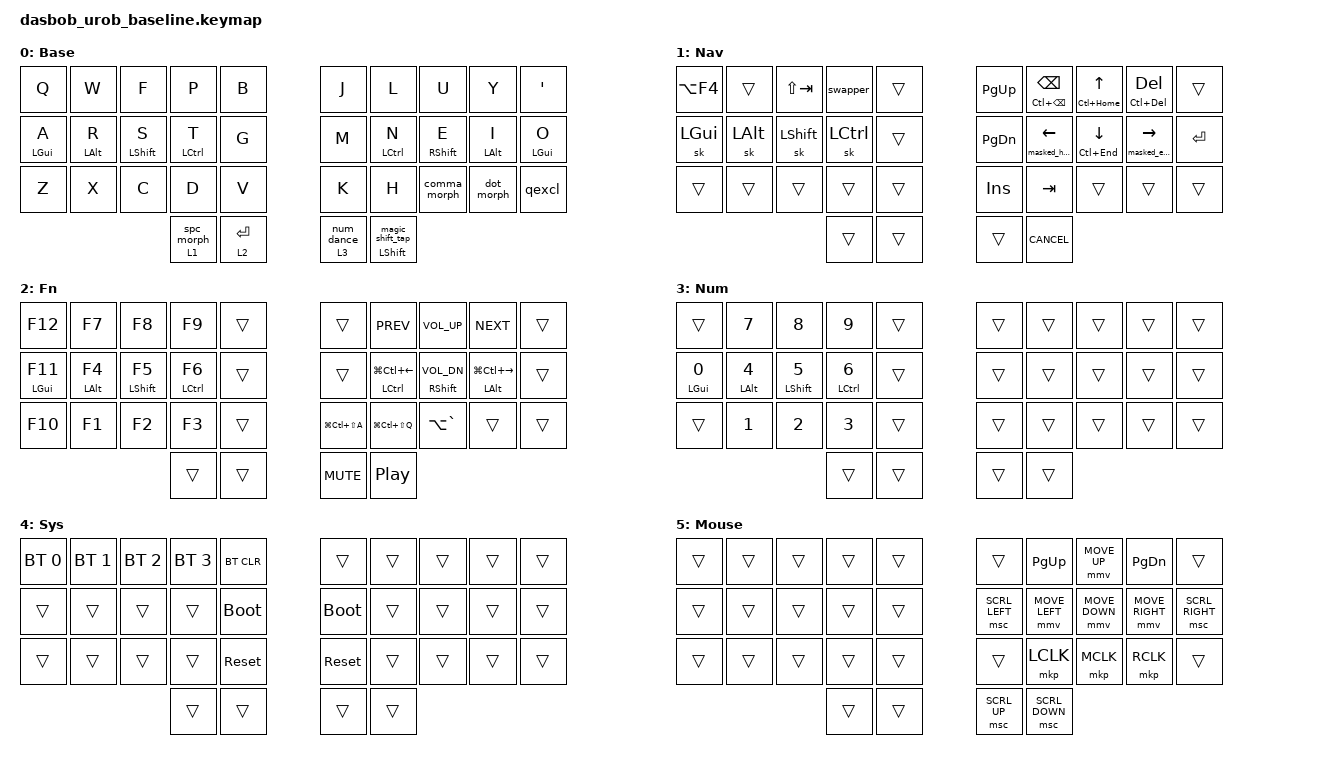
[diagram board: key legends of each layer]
/*
 * ZMK Keymap - Expanded from urob/zmk-config
 *
 * Generated: 2026-05-08
 * Source commit: f864d2a
 *
 * This file is auto-generated by expand_keymap.py for Keymap Editor compatibility.
 */

#include <behaviors.dtsi>
#include <behaviors/num_word.dtsi>
#include <behaviors/unicode.dtsi>
#include <dt-bindings/zmk/keys.h>
#include <dt-bindings/zmk/bt.h>
#include <dt-bindings/zmk/outputs.h>

/* Mouse settings - must be before pointing.h */
#define ZMK_POINTING_DEFAULT_MOVE_VAL 600
#define ZMK_POINTING_DEFAULT_SCRL_VAL 20

#include <dt-bindings/zmk/pointing.h>
#include <input/processors.dtsi>
#include <zephyr/dt-bindings/input/input-event-codes.h>

#define DEF 0
#define NAV 1
#define FN 2
#define NUM 3
#define SYS 4
#define MOUSE 5

#define KEYS_L 0 1 2 3 4 10 11 12 13 14 20 21 22 23 24
#define KEYS_R 5 6 7 8 9 15 16 17 18 19 25 26 27 28 29
#define THUMBS 30 31 32 33 34 35

#define QUICK_TAP_MS 175

&sk {
 release-after-ms = <900>;
 quick-release;
};

&sl {
 ignore-modifiers;
};

&lt {
 flavor = "balanced";
 tapping-term-ms = <200>;
 quick-tap-ms = <175>;
};

&mmv {
 acceleration-exponent = <1>;
 time-to-max-speed-ms = <500>;
 delay-ms = <0>;
};

&msc {
 acceleration-exponent = <0>;
 time-to-max-speed-ms = <300>;
 delay-ms = <0>;
};

&mmv_input_listener {
 warp {
 layers = <1>;
 input-processors = <&zip_xy_scaler 3 1>;
 };
 precision {
 layers = <2>;
 input-processors = <&zip_xy_scaler 1 2>;
 };
};

&msc_input_listener {
 warp {
 layers = <1>;
 input-processors = <&zip_scroll_scaler 2 1>;
 };
 precision {
 layers = <2>;
 input-processors = <&zip_scroll_scaler 1 2>;
 };
};

&mt { flavor = "tap-preferred"; tapping-term-ms = <220>; quick-tap-ms = <220>; hold-trigger-key-positions = <0>; };

&caps_word {
 /delete-property/ ignore-modifiers;
};

/ {
    behaviors {
        hml: hml {
            compatible = "zmk,behavior-hold-tap";
            #binding-cells = <2>;
            bindings = <&kp>, <&kp>;
            flavor = "balanced";
            tapping-term-ms = <280>;
            quick-tap-ms = <175>;
            require-prior-idle-ms = <150>;
            hold-trigger-on-release;
            hold-trigger-key-positions = <5 6 7 8 9 15 16 17 18 19 25 26 27 28 29 30 31 32 33 34 35>;
        };

        hmr: hmr {
            compatible = "zmk,behavior-hold-tap";
            #binding-cells = <2>;
            bindings = <&kp>, <&kp>;
            flavor = "balanced";
            tapping-term-ms = <280>;
            quick-tap-ms = <175>;
            require-prior-idle-ms = <150>;
            hold-trigger-on-release;
            hold-trigger-key-positions = <0 1 2 3 4 10 11 12 13 14 20 21 22 23 24 30 31 32 33 34 35>;
        };

        masked_home: masked_home {
            compatible = "zmk,behavior-mod-morph";
            #binding-cells = <0>;
            bindings = <&kp HOME>, <&kp HOME>;
            mods = <(MOD_LCTL)>;
        };

        masked_end: masked_end {
            compatible = "zmk,behavior-mod-morph";
            #binding-cells = <0>;
            bindings = <&kp END>, <&kp END>;
            mods = <(MOD_LCTL)>;
        };

        mt_home: mt_home {
            compatible = "zmk,behavior-hold-tap";
            #binding-cells = <2>;
            bindings = <&masked_home>, <&kp>;
            flavor = "tap-preferred";
            tapping-term-ms = <220>;
            quick-tap-ms = <220>;
            hold-trigger-key-positions = <0>;
        };

        mt_end: mt_end {
            compatible = "zmk,behavior-hold-tap";
            #binding-cells = <2>;
            bindings = <&masked_end>, <&kp>;
            flavor = "tap-preferred";
            tapping-term-ms = <220>;
            quick-tap-ms = <220>;
            hold-trigger-key-positions = <0>;
        };

        magic_shift: magic_shift {
            compatible = "zmk,behavior-hold-tap";
            #binding-cells = <2>;
            bindings = <&kp>, <&magic_shift_tap>;
            flavor = "balanced";
            tapping-term-ms = <200>;
            quick-tap-ms = <175>;
        };

        magic_shift_tap: magic_shift_tap {
            compatible = "zmk,behavior-mod-morph";
            #binding-cells = <0>;
            bindings = <&shift_repeat>, <&caps_word>;
            mods = <(MOD_LSFT)>;
        };

        shift_repeat: shift_repeat {
            compatible = "zmk,behavior-adaptive-key";
            #binding-cells = <0>;
            bindings = <&sk LSHFT>;
            repeat {
 trigger-keys = <A B C D E F G H I J K L M N O P Q R S T U V W X Y Z>;
            bindings = <&key_repeat>;
            max-prior-idle-ms = <1200>;
            strict-modifiers;
            };
        };

        smart_num: smart_num {
            compatible = "zmk,behavior-hold-tap";
            #binding-cells = <2>;
            bindings = <&mo>, <&num_dance>;
            flavor = "balanced";
            tapping-term-ms = <200>;
            quick-tap-ms = <175>;
        };

        num_dance: num_dance {
            compatible = "zmk,behavior-tap-dance";
            #binding-cells = <0>;
            bindings = <&num_word 3>, <&sl 3>;
            tapping-term-ms = <200>;
        };

        smart_mouse: smart_mouse {
            compatible = "zmk,behavior-tri-state";
            #binding-cells = <0>;
            bindings = <&tog 5>, <&none>, <&tog 5>;
            ignored-key-positions =
 <3 2 32 31 6 7 8 15 16 17 18 19 26 27 28 33 34>;
            ignored-layers = <5 1 2>;
        };

        swapper: swapper {
            compatible = "zmk,behavior-tri-state";
            #binding-cells = <0>;
            bindings = <&kt LALT>, <&kp TAB>, <&kt LALT>;
            ignored-key-positions = <2 7 16 17 18>;
        };

        comma_morph: comma_morph {
            compatible = "zmk,behavior-mod-morph";
            #binding-cells = <0>;
            mods = <(MOD_LSFT | MOD_RSFT)>;
            bindings = <&kp COMMA>, <&comma_inner_morph>;
        };

        comma_inner_morph: comma_inner_morph {
            compatible = "zmk,behavior-mod-morph";
            #binding-cells = <0>;
            mods = <(MOD_LCTL | MOD_RCTL)>;
            bindings = <&kp SEMICOLON>, <&kp LESS_THAN>;
        };

        dot_morph: dot_morph {
            compatible = "zmk,behavior-mod-morph";
            #binding-cells = <0>;
            mods = <(MOD_LSFT | MOD_RSFT)>;
            bindings = <&kp DOT>, <&dot_inner_morph>;
        };

        dot_inner_morph: dot_inner_morph {
            compatible = "zmk,behavior-mod-morph";
            #binding-cells = <0>;
            mods = <(MOD_LCTL | MOD_RCTL)>;
            bindings = <&kp COLON>, <&kp GREATER_THAN>;
        };

        qexcl: qexcl {
            compatible = "zmk,behavior-mod-morph";
            #binding-cells = <0>;
            mods = <(MOD_LSFT | MOD_RSFT)>;
            bindings = <&kp QMARK>, <&kp EXCL>;
        };

        lpar_lt: lpar_lt {
            compatible = "zmk,behavior-mod-morph";
            #binding-cells = <0>;
            mods = <(MOD_LSFT | MOD_RSFT)>;
            bindings = <&kp LPAR>, <&kp LT>;
        };

        rpar_gt: rpar_gt {
            compatible = "zmk,behavior-mod-morph";
            #binding-cells = <0>;
            mods = <(MOD_LSFT | MOD_RSFT)>;
            bindings = <&kp RPAR>, <&kp GT>;
        };

        lt_spc: lt_spc {
            compatible = "zmk,behavior-hold-tap";
            #binding-cells = <2>;
            bindings = <&mo>, <&spc_morph>;
            flavor = "balanced";
            tapping-term-ms = <200>;
            quick-tap-ms = <175>;
        };

        spc_morph: spc_morph {
            compatible = "zmk,behavior-mod-morph";
            #binding-cells = <0>;
            mods = <(MOD_LSFT | MOD_RSFT)>;
            bindings = <&kp SPACE>, <&dot_spc>;
        };

        dot_spc: dot_spc {
            compatible = "zmk,behavior-macro";
            #binding-cells = <0>;
            bindings = <&kp DOT &kp SPACE &sk LSHFT>;
            wait-ms = <0>;
            tap-ms = <5>;
        };

        bs_del: bs_del {
            compatible = "zmk,behavior-mod-morph";
            #binding-cells = <0>;
            bindings = <&kp BSPC>, <&kp DEL>;
            mods = <(MOD_LSFT|MOD_RSFT)>;
            keep-mods = <MOD_RSFT>;
        };

        copy_cut: copy_cut {
            compatible = "zmk,behavior-tap-dance";
            #binding-cells = <0>;
            bindings = <&kp LC(INS)>, <&kp LC(X)>;
            tapping-term-ms = <200>;
        };

        leader_sft: leader_sft {
            compatible = "zmk,behavior-macro";
            #binding-cells = <0>;
            bindings = <&sk LSHFT &leader>;
        };

        leader: leader {
            compatible = "zmk,behavior-leader-key";
            #binding-cells = <0>;
            ignore-keys = <LSHFT RSHFT>;
            leader_sequence_de_ae {
                bindings = <&uc UC_DE_AE>;
                sequence = <A>;
            };
            leader_sequence_de_oe {
                bindings = <&uc UC_DE_OE>;
                sequence = <O>;
            };
            leader_sequence_de_ue {
                bindings = <&uc UC_DE_UE>;
                sequence = <U>;
            };
            leader_sequence_de_eszett {
                bindings = <&uc UC_DE_SS>;
                sequence = <S>;
            };
            leader_sequence_el_alpha {
                bindings = <&uc UC_EL_ALPHA>;
                sequence = <E A>;
            };
            leader_sequence_el_beta {
                bindings = <&uc UC_EL_BETA>;
                sequence = <E B>;
            };
            leader_sequence_el_gamma {
                bindings = <&uc UC_EL_GAMMA>;
                sequence = <E G>;
            };
            leader_sequence_el_delta {
                bindings = <&uc UC_EL_DELTA>;
                sequence = <E D>;
            };
            leader_sequence_el_epsilon {
                bindings = <&uc UC_EL_EPSILON>;
                sequence = <E E>;
            };
            leader_sequence_el_zeta {
                bindings = <&uc UC_EL_ZETA>;
                sequence = <E Z>;
            };
            leader_sequence_el_eta {
                bindings = <&uc UC_EL_ETA>;
                sequence = <E H>;
            };
            leader_sequence_el_theta {
                bindings = <&uc UC_EL_THETA>;
                sequence = <E V>;
            };
            leader_sequence_el_iota {
                bindings = <&uc UC_EL_IOTA>;
                sequence = <E I>;
            };
            leader_sequence_el_kappa {
                bindings = <&uc UC_EL_KAPPA>;
                sequence = <E K>;
            };
            leader_sequence_el_lambda {
                bindings = <&uc UC_EL_LAMBDA>;
                sequence = <E L>;
            };
            leader_sequence_el_mu {
                bindings = <&uc UC_EL_MU>;
                sequence = <E M>;
            };
            leader_sequence_el_nu {
                bindings = <&uc UC_EL_NU>;
                sequence = <E N>;
            };
            leader_sequence_el_xi {
                bindings = <&uc UC_EL_XI>;
                sequence = <E X>;
            };
            leader_sequence_el_omikron {
                bindings = <&uc UC_EL_OMIKRON>;
                sequence = <E O>;
            };
            leader_sequence_el_pi {
                bindings = <&uc UC_EL_PI>;
                sequence = <E P>;
            };
            leader_sequence_el_rho {
                bindings = <&uc UC_EL_RHO>;
                sequence = <E R>;
            };
            leader_sequence_el_sigma {
                bindings = <&uc UC_EL_SIGMA>;
                sequence = <E S>;
            };
            leader_sequence_el_tau {
                bindings = <&uc UC_EL_TAU>;
                sequence = <E T>;
            };
            leader_sequence_el_upsilon {
                bindings = <&uc UC_EL_UPSILON>;
                sequence = <E U>;
            };
            leader_sequence_el_phi {
                bindings = <&uc UC_EL_PHI>;
                sequence = <E F>;
            };
            leader_sequence_el_chi {
                bindings = <&uc UC_EL_CHI>;
                sequence = <E C>;
            };
            leader_sequence_el_psi {
                bindings = <&uc UC_EL_PSI>;
                sequence = <E Y>;
            };
            leader_sequence_el_omega {
                bindings = <&uc UC_EL_OMEGA>;
                sequence = <E W>;
            };
            leader_sequence_usb {
                bindings = <&out OUT_USB>;
                sequence = <U S B>;
            };
            leader_sequence_ble {
                bindings = <&out OUT_BLE>;
                sequence = <B L E>;
            };
            leader_sequence_reset {
                bindings = <&sys_reset>;
                sequence = <R E S E T>;
            };
            leader_sequence_boot {
                bindings = <&bootloader>;
                sequence = <B O O T>;
            };
        };

    };

    combos {
        compatible = "zmk,combos";

        combo_esc {
            bindings = <&kp ESC>;
            key-positions = <1 2>;
            layers = <0 1 3>;
            timeout-ms = <18>;
            require-prior-idle-ms = <150>;
        };

        combo_mouse {
            bindings = <&smart_mouse>;
            key-positions = <2 3>;
            layers = <0 1 3>;
            timeout-ms = <18>;
            require-prior-idle-ms = <150>;
        };

        combo_tab {
            bindings = <&hml LS(LALT)TAB>;
            key-positions = <11 12>;
            layers = <0 1 3>;
            timeout-ms = <18>;
            require-prior-idle-ms = <150>;
        };

        combo_ldr {
            bindings = <&leader>;
            key-positions = <12 13>;
            layers = <0 1 3>;
            timeout-ms = <18>;
            require-prior-idle-ms = <150>;
        };

        combo_cut {
            bindings = <&kp LC(X)>;
            key-positions = <21 23>;
            layers = <0 1 3>;
            timeout-ms = <18>;
            require-prior-idle-ms = <150>;
        };

        combo_copy {
            bindings = <&kp LC(INS)>;
            key-positions = <21 22>;
            layers = <0 1 3>;
            timeout-ms = <18>;
            require-prior-idle-ms = <150>;
        };

        combo_paste {
            bindings = <&kp LS(INS)>;
            key-positions = <22 23>;
            layers = <0 1 3>;
            timeout-ms = <18>;
            require-prior-idle-ms = <150>;
        };

        combo_bspc {
            bindings = <&kp BSPC>;
            key-positions = <6 7>;
            layers = <0 1 3>;
            timeout-ms = <18>;
            require-prior-idle-ms = <150>;
        };

        combo_del {
            bindings = <&kp DEL>;
            key-positions = <7 8>;
            layers = <0 1 3>;
            timeout-ms = <18>;
            require-prior-idle-ms = <150>;
        };

        combo_lpar {
            bindings = <&lpar_lt>;
            key-positions = <16 17>;
            layers = <0 3>;
            timeout-ms = <18>;
            require-prior-idle-ms = <150>;
        };

        combo_rpar {
            bindings = <&rpar_gt>;
            key-positions = <17 18>;
            layers = <0 3>;
            timeout-ms = <18>;
            require-prior-idle-ms = <150>;
        };

        combo_lt {
            bindings = <&kp LT>;
            key-positions = <16 17>;
            layers = <1>;
            timeout-ms = <18>;
            require-prior-idle-ms = <150>;
        };

        combo_gt {
            bindings = <&kp GT>;
            key-positions = <17 18>;
            layers = <1>;
            timeout-ms = <18>;
            require-prior-idle-ms = <150>;
        };

        combo_lbkt {
            bindings = <&kp LBKT>;
            key-positions = <26 27>;
            layers = <0 3>;
            timeout-ms = <18>;
            require-prior-idle-ms = <150>;
        };

        combo_rbkt {
            bindings = <&kp RBKT>;
            key-positions = <27 28>;
            layers = <0 3>;
            timeout-ms = <18>;
            require-prior-idle-ms = <150>;
        };

        combo_lbrc {
            bindings = <&kp LBRC>;
            key-positions = <26 27>;
            layers = <1>;
            timeout-ms = <18>;
            require-prior-idle-ms = <150>;
        };

        combo_rbrc {
            bindings = <&kp RBRC>;
            key-positions = <27 28>;
            layers = <1>;
            timeout-ms = <18>;
            require-prior-idle-ms = <150>;
        };

        combo_at {
            bindings = <&kp AT>;
            key-positions = <1 11>;
            layers = <0 1 3>;
            timeout-ms = <30>;
            require-prior-idle-ms = <50>;
        };

        combo_hash {
            bindings = <&kp HASH>;
            key-positions = <2 12>;
            layers = <0 1 3>;
            timeout-ms = <30>;
            require-prior-idle-ms = <50>;
        };

        combo_dllr {
            bindings = <&kp DLLR>;
            key-positions = <3 13>;
            layers = <0 1 3>;
            timeout-ms = <30>;
            require-prior-idle-ms = <50>;
        };

        combo_prcnt {
            bindings = <&kp PRCNT>;
            key-positions = <4 14>;
            layers = <0 1 3>;
            timeout-ms = <30>;
            require-prior-idle-ms = <50>;
        };

        combo_grave {
            bindings = <&kp GRAVE>;
            key-positions = <11 21>;
            layers = <0 1 3>;
            timeout-ms = <30>;
            require-prior-idle-ms = <50>;
        };

        combo_bslh {
            bindings = <&kp BSLH>;
            key-positions = <12 22>;
            layers = <0 1 3>;
            timeout-ms = <30>;
            require-prior-idle-ms = <50>;
        };

        combo_equal {
            bindings = <&kp EQUAL>;
            key-positions = <13 23>;
            layers = <0 1 3>;
            timeout-ms = <30>;
            require-prior-idle-ms = <50>;
        };

        combo_tilde {
            bindings = <&kp TILDE>;
            key-positions = <14 24>;
            layers = <0 1 3>;
            timeout-ms = <30>;
            require-prior-idle-ms = <50>;
        };

        combo_caret {
            bindings = <&kp CARET>;
            key-positions = <5 15>;
            layers = <0 1 3>;
            timeout-ms = <30>;
            require-prior-idle-ms = <50>;
        };

        combo_plus {
            bindings = <&kp PLUS>;
            key-positions = <6 16>;
            layers = <0 1 3>;
            timeout-ms = <30>;
            require-prior-idle-ms = <50>;
        };

        combo_star {
            bindings = <&kp STAR>;
            key-positions = <7 17>;
            layers = <0 1 3>;
            timeout-ms = <30>;
            require-prior-idle-ms = <50>;
        };

        combo_amps {
            bindings = <&kp AMPS>;
            key-positions = <8 18>;
            layers = <0 1 3>;
            timeout-ms = <30>;
            require-prior-idle-ms = <50>;
        };

        combo_under {
            bindings = <&kp UNDER>;
            key-positions = <15 25>;
            layers = <0 1 3>;
            timeout-ms = <30>;
            require-prior-idle-ms = <50>;
        };

        combo_minus {
            bindings = <&kp MINUS>;
            key-positions = <16 26>;
            layers = <0 1 3>;
            timeout-ms = <30>;
            require-prior-idle-ms = <50>;
        };

        combo_fslh {
            bindings = <&kp FSLH>;
            key-positions = <17 27>;
            layers = <0 1 3>;
            timeout-ms = <30>;
            require-prior-idle-ms = <50>;
        };

        combo_pipe {
            bindings = <&kp PIPE>;
            key-positions = <18 28>;
            layers = <0 1 3>;
            timeout-ms = <30>;
            require-prior-idle-ms = <50>;
        };

    };

    conditional_layers {
        compatible = "zmk,conditional-layers";
        sys_layer {
            if-layers = <2 3>;
            then-layer = <4>;
        };
    };

    keymap {
        compatible = "zmk,keymap";

        layer_Base {
            display-name = "Base";
            bindings = <
//╭─────────────┬─────────────┬─────────────┬─────────────┬─────────────╮ ╭─────────────┬─────────────┬─────────────┬─────────────┬─────────────╮
    &kp Q         &kp W         &kp F         &kp P         &kp B          &kp J         &kp L         &kp U         &kp Y         &kp SQT
//├─────────────┼─────────────┼─────────────┼─────────────┼─────────────┤ ├─────────────┼─────────────┼─────────────┼─────────────┼─────────────┤
    &hml LGUI A   &hml LALT R   &hml LSHFT S  &hml LCTRL T  &kp G          &kp M         &hmr LCTRL N  &hmr RSHFT E  &hmr LALT I   &hmr LGUI O
//├─────────────┼─────────────┼─────────────┼─────────────┼─────────────┤ ├─────────────┼─────────────┼─────────────┼─────────────┼─────────────┤
    &kp Z         &kp X         &kp C         &kp D         &kp V          &kp K         &kp H         &comma_morph  &dot_morph    &qexcl
//╰─────────────┼─────────────┴─────────────┼─────────────┼─────────────┤ ├─────────────┼─────────────┼─────────────┴───────────────────────────╯
    &lt_spc 1 0 &lt 2 RET     &smart_num 3 0     &magic_shift LSHFT 0
            >;
        };

        layer_Nav {
            display-name = "Nav";
            bindings = <
//╭─────────────┬─────────────┬─────────────┬─────────────┬─────────────╮ ╭─────────────┬─────────────┬─────────────┬─────────────┬─────────────╮
    &kp LA(F4)    &trans           &kp LS(TAB)   &swapper      &trans            &kp PG_UP     &mt LC(BSPC) BSPC      &mt LC(HOME) UP        &mt LC(DEL)  DEL       &trans
//├─────────────┼─────────────┼─────────────┼─────────────┼─────────────┤ ├─────────────┼─────────────┼─────────────┼─────────────┼─────────────┤
    &sk LGUI      &sk LALT      &sk LSHFT     &sk LCTRL     &trans            &kp PG_DN     &mt_home 0   LEFT      &mt LC(END)  DOWN      &mt_end 0    RIGHT     &kp RET
//├─────────────┼─────────────┼─────────────┼─────────────┼─────────────┤ ├─────────────┼─────────────┼─────────────┼─────────────┼─────────────┤
    &trans           &trans           &trans           &trans           &trans            &kp INS       &kp TAB       &trans           &trans           &trans
//╰─────────────┼─────────────┴─────────────┼─────────────┼─────────────┤ ├─────────────┼─────────────┼─────────────┴───────────────────────────╯
    &trans           &trans            &trans           &kp K_CANCEL
            >;
        };

        layer_Fn {
            display-name = "Fn";
            bindings = <
//╭─────────────┬─────────────┬─────────────┬─────────────┬─────────────╮ ╭─────────────┬─────────────┬─────────────┬─────────────┬─────────────╮
    &kp F12       &kp F7        &kp F8        &kp F9        &trans            &trans           &kp C_PREV    &kp C_VOL_UP  &kp C_NEXT    &trans
//├─────────────┼─────────────┼─────────────┼─────────────┼─────────────┤ ├─────────────┼─────────────┼─────────────┼─────────────┼─────────────┤
    &hml LGUI F11 &hml LALT F4  &hml LSHFT F5 &hml LCTRL F6 &trans            &trans           &hmr LCTRL LG(LC(LEFT))      &hmr RSHFT C_VOL_DN      &hmr LALT LG(LC(RIGHT))      &trans
//├─────────────┼─────────────┼─────────────┼─────────────┼─────────────┤ ├─────────────┼─────────────┼─────────────┼─────────────┼─────────────┤
    &kp F10       &kp F1        &kp F2        &kp F3        &trans            &kp LG(LC(LS(A)))       &kp LG(LC(LS(Q)))       &kp LA(GRAVE)       &trans           &trans
//╰─────────────┼─────────────┴─────────────┼─────────────┼─────────────┤ ├─────────────┼─────────────┼─────────────┴───────────────────────────╯
    &trans           &trans            &kp C_MUTE    &kp C_PP
            >;
        };

        layer_Num {
            display-name = "Num";
            bindings = <
//╭─────────────┬─────────────┬─────────────┬─────────────┬─────────────╮ ╭─────────────┬─────────────┬─────────────┬─────────────┬─────────────╮
    &trans           &kp N7        &kp N8        &kp N9        &trans            &trans           &trans           &trans           &trans           &trans
//├─────────────┼─────────────┼─────────────┼─────────────┼─────────────┤ ├─────────────┼─────────────┼─────────────┼─────────────┼─────────────┤
    &hml LGUI N0  &hml LALT N4  &hml LSHFT N5 &hml LCTRL N6 &trans            &trans           &trans           &trans           &trans           &trans
//├─────────────┼─────────────┼─────────────┼─────────────┼─────────────┤ ├─────────────┼─────────────┼─────────────┼─────────────┼─────────────┤
    &trans           &kp N1        &kp N2        &kp N3        &trans            &trans           &trans           &trans           &trans           &trans
//╰─────────────┼─────────────┴─────────────┼─────────────┼─────────────┤ ├─────────────┼─────────────┼─────────────┴───────────────────────────╯
    &trans           &trans            &trans           &trans
            >;
        };

        layer_Sys {
            display-name = "Sys";
            bindings = <
//╭─────────────┬─────────────┬─────────────┬─────────────┬─────────────╮ ╭─────────────┬─────────────┬─────────────┬─────────────┬─────────────╮
    &bt BT_SEL 0 &bt BT_SEL 1 &bt BT_SEL 2 &bt BT_SEL 3 &bt BT_CLR                               &trans           &trans           &trans           &trans           &trans
//├─────────────┼─────────────┼─────────────┼─────────────┼─────────────┤ ├─────────────┼─────────────┼─────────────┼─────────────┼─────────────┤
    &trans           &trans           &trans           &trans           &bootloader    &bootloader   &trans           &trans           &trans           &trans
//├─────────────┼─────────────┼─────────────┼─────────────┼─────────────┤ ├─────────────┼─────────────┼─────────────┼─────────────┼─────────────┤
    &trans           &trans           &trans           &trans           &sys_reset     &sys_reset    &trans           &trans           &trans           &trans
//╰─────────────┼─────────────┴─────────────┼─────────────┼─────────────┤ ├─────────────┼─────────────┼─────────────┴───────────────────────────╯
    &trans           &trans            &trans           &trans
            >;
        };

        layer_Mouse {
            display-name = "Mouse";
            bindings = <
//╭─────────────┬─────────────┬─────────────┬─────────────┬─────────────╮ ╭─────────────┬─────────────┬─────────────┬─────────────┬─────────────╮
    &trans           &trans           &trans           &trans           &trans            &trans           &kp PG_UP     &mmv MOVE_UP         &kp PG_DN    &trans
//├─────────────┼─────────────┼─────────────┼─────────────┼─────────────┤ ├─────────────┼─────────────┼─────────────┼─────────────┼─────────────┤
    &trans           &trans           &trans           &trans           &trans            &msc SCRL_LEFT        &mmv MOVE_LEFT        &mmv MOVE_DOWN         &mmv MOVE_RIGHT       &msc SCRL_RIGHT
//├─────────────┼─────────────┼─────────────┼─────────────┼─────────────┤ ├─────────────┼─────────────┼─────────────┼─────────────┼─────────────┤
    &trans           &trans           &trans           &trans           &trans            &trans           &mkp LCLK     &mkp MCLK      &mkp RCLK    &trans
//╰─────────────┼─────────────┴─────────────┼─────────────┼─────────────┤ ├─────────────┼─────────────┼─────────────┴───────────────────────────╯
    &trans           &trans            &msc SCRL_UP        &msc SCRL_DOWN
            >;
        };

    };
};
